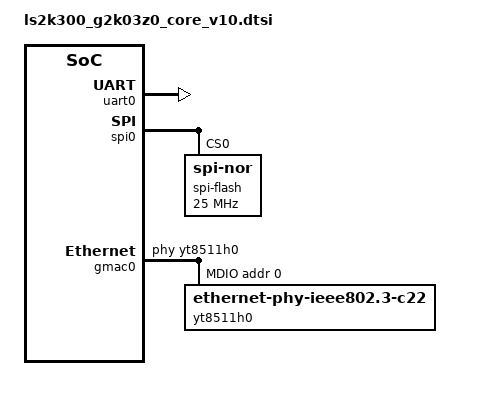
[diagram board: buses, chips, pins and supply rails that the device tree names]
// SPDX-License-Identifier: GPL-2.0
/*
 * Copyright (C) 2025 Loongson Technology Corporation Limited
 */

/dts-v1/;


#include "loongson-2k0300.dtsi"

/ {
	chosen {
		stdout-path = "serial0:115200n8";
		bootargs = "earlycon";
	};

	/* not need memory node, we get memory info from boot params. */
	//memory {
	//	name = "memory";
	//	device_type = "memory";
	//	reg =  <0 0x00200000 0 0x0ee00000
	//		0 0x90000000 0 0x10000000>;
	//};

	reserved-memory {
		#address-cells = <2>;
		#size-cells = <2>;
		ranges;

		linux,cma {
			compatible = "shared-dma-pool";
			reusable;
			size = <0 0x02000000>;
			linux,cma-default;
		};
	};
};

&uart0 {
	status = "okay";
};

&spi0 {
	status = "okay";

	spi-flash@0 {
		compatible = "jedec,spi-nor";
		spi-max-frequency = <25000000>;
		reg = <0>;
	};
};

&gmac0 {
	status = "okay";
	phy-handle = <&yt8511h0>;
	mdio {
		compatible = "snps,dwmac-mdio";
		#address-cells = <1>;
		#size-cells = <0>;

		yt8511h0: ethernet-phy@0 {
			compatible = "ethernet-phy-ieee802.3-c22";
			reg = <0>;
			motorcomm,led0_cfg = <0x40>; //千兆常亮
			motorcomm,led1_cfg = <0x30>; //百兆 十兆常亮
			motorcomm,led2_cfg = <0x2600>; //有数据时闪烁
		};
	};
};

// &emmc {
// 	mmc-hs200-1_8v;
// };
